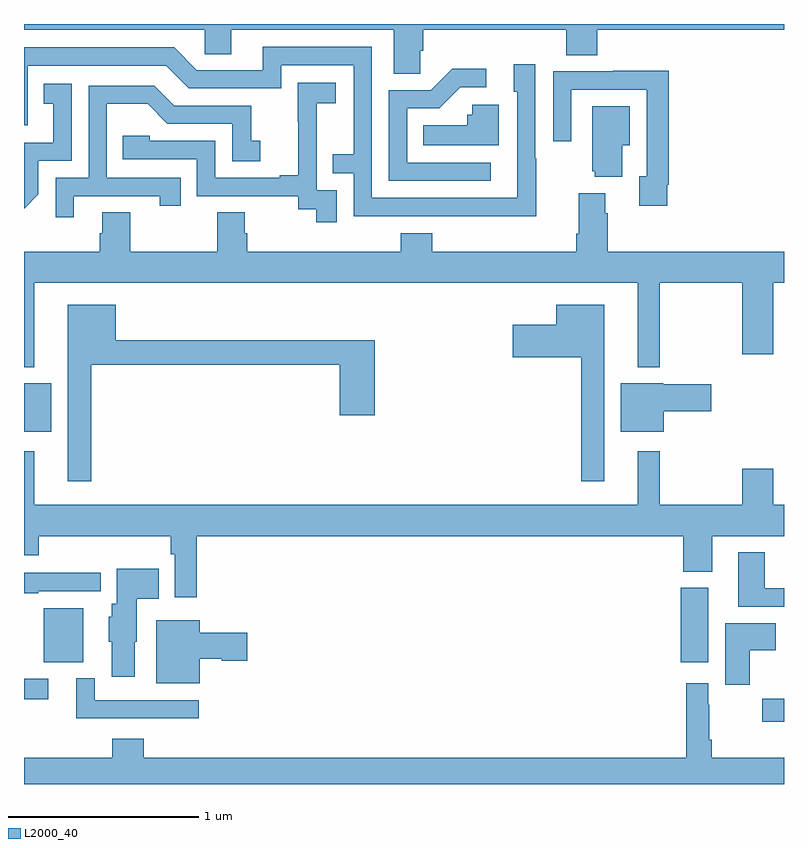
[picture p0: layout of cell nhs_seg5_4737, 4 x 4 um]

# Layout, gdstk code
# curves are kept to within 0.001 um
import gdstk
lib = gdstk.Library(unit=1e-6, precision=1e-09)
def R(c, l, rs):  # rectangles x0, y0, x1, y1
    for r in rs: c.add(gdstk.rectangle(r[:2], r[2:], *l))
def P(c, l, *ps):  # polygons
    for p in ps: c.add(gdstk.Polygon(p, *l))
L2000_40 = (2000, 40)

nhs_seg5_4737 = lib.new_cell('nhs_seg5_4737')
R(nhs_seg5_4737, L2000_40, [(392.886,845.126,393,845.248), (389,845.244,389.128,845.352), (389.105,845.441,389.311,845.725), (392.456,845.441,392.602,845.832), (389,846.653,389.143,846.907)])
P(nhs_seg5_4737, L2000_40, [(391.086,848.659),(391.1,848.659),(391.1,848.768),(391.853,848.768),(391.853,848.635),(392.018,848.635),(392.018,848.768),(393,848.768),(393,848.799),(389,848.799),(389,848.768),(389.952,848.768),(389.952,848.641),(390.091,848.641),(390.091,848.768),(390.947,848.768),(390.947,848.536),(391.086,848.536)],
  [(391.695,848.093),(391.692,848.093),(391.692,848.587),(391.577,848.587),(391.577,848.442),(391.596,848.442),(391.595,847.884),(390.831,847.884),(390.831,848.679),(390.257,848.679),(390.257,848.556),(389.91,848.556),(389.79,848.676),(389,848.676),(389,848.265),(389.019,848.265),(389.019,848.58),(389.748,848.58),(389.868,848.46),(390.354,848.46),(390.354,848.583),(390.735,848.583),(390.735,848.114),(390.625,848.114),(390.625,848.013),(390.735,848.013),(390.735,847.788),(391.695,847.787)],
  [(391.456,848.07),(391.017,848.07),(391.017,848.355),(391.186,848.355),(391.297,848.466),(391.432,848.466),(391.432,848.564),(391.253,848.564),(391.14,848.451),(390.921,848.451),(390.921,847.974),(391.456,847.974)],
  [(392.386,847.954),(392.393,847.954),(392.393,848.552),(392.101,848.552),(392.101,848.55),(391.785,848.55),(391.785,848.181),(391.881,848.181),(391.881,848.454),(392.277,848.454),(392.277,847.998),(392.237,847.998),(392.237,847.842),(392.386,847.842)],
  [(390.645,847.923),(390.54,847.923),(390.54,848.153),(390.542,848.153),(390.542,848.381),(390.64,848.381),(390.64,848.491),(390.442,848.491),(390.442,848.285),(390.443,848.285),(390.443,848.002),(390.347,848.002),(390.347,847.989),(390.006,847.989),(390.006,848.184),(389.661,848.184),(389.661,848.211),(389.521,848.211),(389.521,848.088),(389.91,848.088),(389.91,847.893),(390.444,847.893),(390.444,847.825),(390.537,847.825),(390.537,847.755),(390.645,847.755)],
  [(389.076,847.902),(389.076,848.079),(389.25,848.079),(389.25,848.485),(389.104,848.485),(389.104,848.379),(389.153,848.379),(389.153,848.175),(389,848.175),(389,847.827)],
  [(389.263,847.893),(389.714,847.893),(389.714,847.842),(389.825,847.842),(389.825,847.989),(389.436,847.989),(389.436,848.378),(389.65,848.378),(389.754,848.274),(390.096,848.274),(390.096,848.076),(390.244,848.076),(390.244,848.185),(390.195,848.185),(390.195,848.37),(389.791,848.37),(389.686,848.475),(389.34,848.475),(389.34,847.989),(389.166,847.989),(389.166,847.782),(389.263,847.782)],
  [(391.498,848.374),(391.359,848.374),(391.359,848.322),(391.333,848.322),(391.333,848.266),(391.102,848.266),(391.102,848.162),(391.498,848.162)],
  [(392.149,848.162),(392.188,848.162),(392.188,848.365),(391.991,848.365),(391.991,848.025),(392.003,848.025),(392.003,847.994),(392.149,847.994)],
  [(389.053,847.436),(392.231,847.436),(392.231,846.992),(392.345,846.992),(392.345,847.436),(392.78,847.436),(392.78,847.062),(392.944,847.062),(392.944,847.436),(393,847.436),(393,847.6),(392.072,847.6),(392.072,847.802),(392.059,847.802),(392.059,847.909),(391.919,847.909),(391.919,847.696),(391.907,847.696),(391.907,847.6),(391.148,847.6),(391.148,847.699),(390.983,847.699),(390.983,847.6),(390.176,847.6),(390.176,847.698),(390.163,847.698),(390.163,847.808),(390.016,847.808),(390.016,847.6),(389.559,847.6),(389.559,847.808),(389.411,847.808),(389.411,847.698),(389.399,847.698),(389.399,847.6),(389,847.6),(389,846.992),(389.053,846.992)],
  [(392.053,847.321),(391.802,847.321),(391.802,847.216),(391.572,847.216),(391.572,847.046),(391.932,847.046),(391.932,846.393),(392.053,846.393)],
  [(389.353,847.006),(390.662,847.006),(390.662,846.741),(390.845,846.741),(390.845,847.135),(389.482,847.135),(389.482,847.321),(389.231,847.321),(389.231,846.393),(389.353,846.393)],
  [(392.368,846.76),(392.617,846.76),(392.617,846.902),(392.364,846.902),(392.364,846.907),(392.141,846.907),(392.141,846.653),(392.368,846.653)],
  [(389.909,846.104),(392.471,846.104),(392.471,845.917),(392.623,845.917),(392.623,846.104),(393,846.104),(393,846.268),(392.944,846.268),(392.944,846.457),(392.78,846.457),(392.78,846.268),(392.345,846.268),(392.345,846.55),(392.231,846.55),(392.231,846.268),(389.053,846.268),(389.053,846.55),(389,846.55),(389,846.002),(389.078,846.002),(389.078,846.104),(389.773,846.104),(389.773,846.008),(389.793,846.008),(389.793,845.781),(389.909,845.781)],
  [(393,845.829),(392.899,845.829),(392.899,846.019),(392.759,846.019),(392.759,845.733),(393,845.733)],
  [(389.584,845.547),(389.593,845.547),(389.593,845.774),(389.708,845.774),(389.708,845.932),(389.489,845.932),(389.489,845.748),(389.462,845.748),(389.462,845.679),(389.447,845.679),(389.447,845.547),(389.462,845.547),(389.462,845.364),(389.584,845.364)],
  [(389.074,845.814),(389.404,845.814),(389.404,845.912),(389.161,845.912),(389.161,845.91),(389,845.91),(389,845.802),(389.074,845.802)],
  [(389.926,845.459),(390.042,845.459),(390.042,845.447),(390.175,845.447),(390.175,845.594),(389.926,845.594),(389.926,845.662),(389.696,845.662),(389.696,845.33),(389.926,845.33)],
  [(392.82,845.504),(392.956,845.504),(392.956,845.644),(392.69,845.644),(392.69,845.322),(392.82,845.322)],
  [(389.92,845.241),(389.373,845.241),(389.373,845.356),(389.276,845.356),(389.276,845.145),(389.92,845.145)],
  [(393,844.936),(392.621,844.936),(392.621,845.032),(392.606,845.032),(392.606,845.216),(392.601,845.216),(392.601,845.329),(392.485,845.329),(392.485,844.936),(389.63,844.936),(389.63,845.038),(389.465,845.038),(389.465,844.936),(389,844.936),(389,844.799),(393,844.799)])

lib.write_gds('nhs_seg5_4737.gds')
